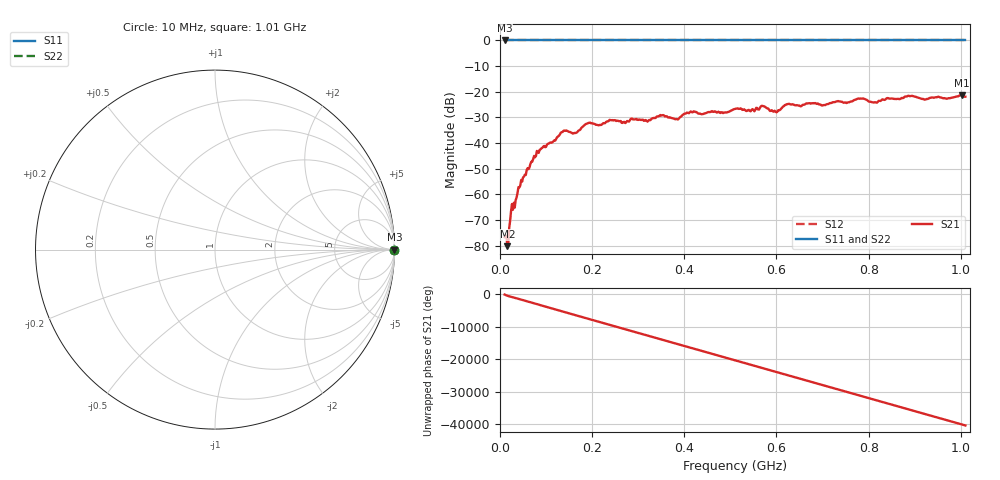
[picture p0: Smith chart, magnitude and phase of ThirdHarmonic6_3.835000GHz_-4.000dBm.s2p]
! 8/17/2025 1:20:37 PM
! C:\ANRITSUVNA\TEMP\TEMP.S2P
! CHANNEL.1
! TR.MEASUREMENT
! RAW.DATA
! RF.CORRECTION.OFF
! AVERAGING.OFF
! IF.BANDWIDTH: 5KHZ
! SWEEPTYPE:  FREQ.SWEEP(Linear)
! Reference Plane Port Info
! PORT:  PORT1  PORT2
! DISTANCE:  0  m  0  m
! TIME:  0  s  0  s
! PHASE.OFFSET:  0  deg.  0  deg.
! LOSS:  0  dB  0  dB
! REF.LOSS:  0  dB  0  dB
! REF.FREQ:  0  Hz  0  Hz
! Power Info
! POWER:  -20  dBm  -20  dBm
! EFF.POWER:  -20  dBm  -20  dBm
! SOURCE.ATTEN:  0  dB  0  dB
! TEST.ATTEN:  0  dB  0  dB
# GHZ S RI R 50.0
! FREQ.GHZ  S11RE  S11IM  S21RE  S21IM  S12RE  S12IM  S22RE  S22IM
!; PortSelection: Port_12
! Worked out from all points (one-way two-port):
!   501 points, 10 MHz to 1.01 GHz, reference 50 ohm
!   highest |S21| = -21.30 dB at 1.002 GHz (marker M1); lowest = -80.1 dB at 16 MHz (marker M2)
!   lowest |S11| = 0.0 dB at 10 MHz (marker M3)
!   |S11| at or under -10 dB: nowhere
!   |S22| runs from 0.0 to 0.0 dB; largest |S21 - S12| = 1.1
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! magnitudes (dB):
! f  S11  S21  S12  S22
! 10 MHz  0.0  -76.6  0.0  0.0
! 16 MHz  0.0  -80.1  0.0  0.0
! 20 MHz  0.0  -73.0  0.0  0.0
! 26 MHz  0.0  -63.7  0.0  0.0
! 42 MHz  0.0  -57.2  0.0  0.0
! 78 MHz  0.0  -45.0  0.0  0.0
! 136 MHz  0.0  -35.6  0.0  0.0
! 162 MHz  0.0  -36.0  0.0  0.0
! 178 MHz  0.0  -33.8  0.0  0.0
! 192 MHz  0.0  -32.1  0.0  0.0
! 322 MHz  0.0  -31.2  0.0  0.0
! 344 MHz  0.0  -29.6  0.0  0.0
! 384 MHz  0.0  -30.6  0.0  0.0
! 416 MHz  0.0  -27.9  0.0  0.0
! 510 MHz  0.0  -26.7  0.0  0.0
! 570 MHz  0.0  -25.5  0.0  0.0
! 598 MHz  0.0  -27.7  0.0  0.0
! 624 MHz  0.0  -24.8  0.0  0.0
! 678 MHz  0.0  -24.5  0.0  0.0
! 844 MHz  0.0  -22.6  0.0  0.0
! 1.002 GHz  0.0  -21.3  0.0  0.0
! 1.01 GHz  0.0  -21.9  0.0  0.0
